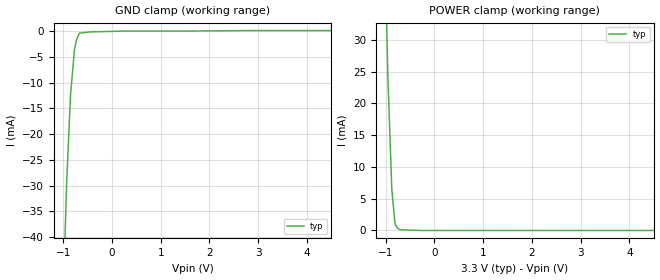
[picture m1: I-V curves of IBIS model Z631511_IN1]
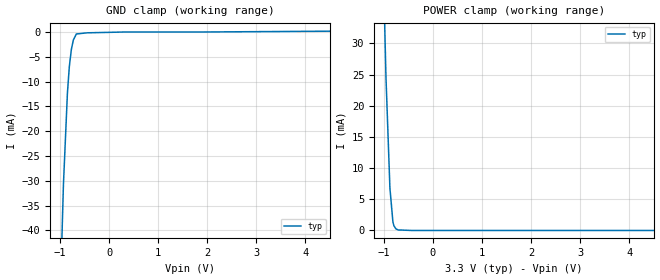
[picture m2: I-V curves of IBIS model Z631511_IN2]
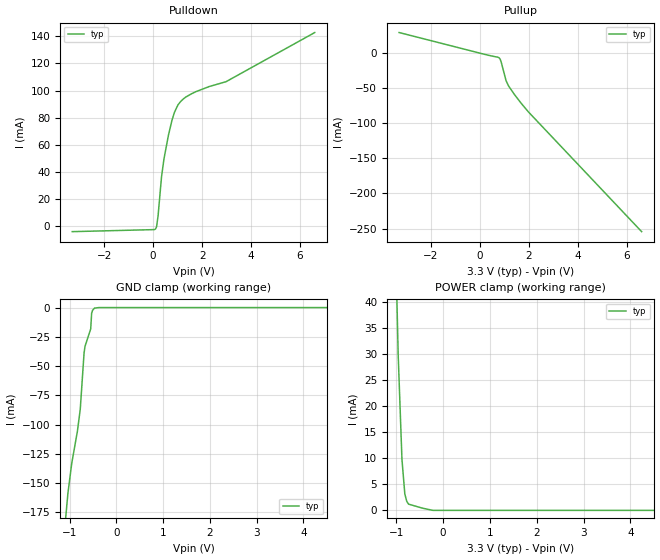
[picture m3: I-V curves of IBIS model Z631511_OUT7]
| YOU ARE ONLY AUTHORIZED TO USE THIS SOFTWARE
| ACCORDING TO LICENSOR'S LICENSE RESTRICTIONS.
[IBIS Ver] 3.1
[File Name] mc100lvelt23d_33.ibs
[File Rev] 5
[Source] Derived from mc100ept23d_33.ibs Measured
|   and created by ICX Technology
[Date] 2/18/2004
[Copyright]
| (c) COPYRIGHT 1993-2000
| MENTOR GRAPHICS CORPORATION
| ICX STANDARD LIBRARY, ICX PROJECT MODELING,
| ICX CUSTOM MODELING, ICX VENDOR MODEL
| ALL RIGHTS RESERVED.
| THE FOLLOWING ARE TRADEMARKS OR SERVICE MARKS OF
| MENTOR GRAPHICS CORPORATION:ICX (r), ICX STANDARD
| LIBRARY(r), ICX PROJECT MODELING(r), ICX CUSTOM
| MODELING(r), qualityIBIS(tm), MODELVIEWER(tm),
| AND MODELEDITOR(tm)
| ALL COPIES OF SOFTWARE, INCLUDING BUT NOT LIMITED TO
| ANY MODIFICATIONS, ENHANCEMENTS OR DERIVATIVE WORKS,
| MUST CONTAIN ALL MENTOR GRAPHICS CORPORATION'S
| NOTICES AND LEGENDS, INCLUDING THOSE EMBEDDED IN
| SOFTWARE AND THOSE AFFIXED TO SOFTWARE MEDIUM
| AND CONTAINER, AS RECEIVED FROM MENTOR GRAPHICS
| CORPORATION.
|  ZAP Model Builder 2.8
[Component] MC100LVELT23D_33
[Manufacturer] ON
[Package]
| variable   typ   min   max
R_pkg  .152ohms NA NA
L_pkg  2.714nH NA NA
C_pkg  .364pF NA NA
[Pin] signal_name  model_name  R_pin  L_pin C_pin
1 D0 Z631511_IN1 .154 2.924n .374p
2 _D0 Z631511_IN2 .15 2.504n .354p
3 _D1 Z631511_IN2 .15 2.504n .354p
4 D1 Z631511_IN1 .154 2.924n .374p
5 GND GND .154 2.924n .374p
6 Q1 Z631511_OUT7 .15 2.504n .354p
7 _Q1 Z631511_OUT7 .15 2.504n .354p
8 VCC POWER .154 2.924n .374p
[Diff Pin] inv_pin vdiff tdelay_typ tdelay_min tdelay_max
1 2 800mv NA NA NA
4 3 800mv NA NA NA
| Models and submodels in the file (3): Z631511_IN1 (Input_ECL), Z631511_IN2 (Input_ECL), Z631511_OUT7 (Output)
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| (c) COPYRIGHT 1993-2000
| MENTOR GRAPHICS CORPORATION
| ICX STANDARD LIBRARY, ICX PROJECT MODELING,
| ICX CUSTOM MODELING, ICX VENDOR MODEL
| ALL RIGHTS RESERVED.
| THE FOLLOWING ARE TRADEMARKS OR SERVICE MARKS OF
| MENTOR GRAPHICS CORPORATION:ICX (r), ICX STANDARD
| LIBRARY(r), ICX PROJECT MODELING(r), ICX CUSTOM
| MODELING(r), qualityIBIS(tm), MODELVIEWER(tm),
| AND MODELEDITOR(tm)
| ALL COPIES OF SOFTWARE, INCLUDING BUT NOT LIMITED TO
| ANY MODIFICATIONS, ENHANCEMENTS OR DERIVATIVE WORKS,
| MUST CONTAIN ALL MENTOR GRAPHICS CORPORATION'S
| NOTICES AND LEGENDS, INCLUDING THOSE EMBEDDED IN
| SOFTWARE AND THOSE AFFIXED TO SOFTWARE MEDIUM
| AND CONTAINER, AS RECEIVED FROM MENTOR GRAPHICS
| CORPORATION.
| Model Application Version 1.89 2/18/99.
[Model] Z631511_IN1
Model_type Input_ECL
Vinl = 1.825V
Vinh = 2.135V
C_comp 2.000pF NA NA
| variable typ   min   max
[Voltage Range] 3.300V NA NA
[GND Clamp Reference] 0.000V NA NA
[POWER Clamp Reference] 3.300V NA NA
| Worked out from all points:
|   GND clamp passes 1 mA (typ) near -0.70 V on its own axis
|   POWER clamp passes 1 mA (typ) near -0.80 V on its own axis
[GND Clamp]
-3.3V     -775.3mA   NA         NA
-932mV    -29.8mA    NA         NA
-851mV    -12.4mA    NA         NA
-770mV    -3.6mA     NA         NA
-729mV    -1.7mA     NA         NA
-669mV    -400uA     NA         NA
-446mV    -161.9uA   NA         NA
243mV     0A         NA         NA
1.561V    0A         NA         NA
2.878V    100uA      NA         NA
6.6V      100uA      NA         NA
[POWER Clamp]
-3.3V     783.7mA    NA         NA
-1.119V   86.3mA     NA         NA
-1.078V   64.1mA     NA         NA
-957mV    24.2mA     NA         NA
-876mV    6.5mA      NA         NA
-815mV    1.4mA      NA         NA
-795mV    800uA      NA         NA
-754mV    300uA      NA         NA
-683mV    100uA      NA         NA
-612mV    100uA      NA         NA
-306mV    0A         NA         NA
6.6V      0A         NA         NA
| (c) COPYRIGHT 1993-2000
| MENTOR GRAPHICS CORPORATION
| ICX STANDARD LIBRARY, ICX PROJECT MODELING,
| ICX CUSTOM MODELING, ICX VENDOR MODEL
| ALL RIGHTS RESERVED.
| THE FOLLOWING ARE TRADEMARKS OR SERVICE MARKS OF
| MENTOR GRAPHICS CORPORATION:ICX (r), ICX STANDARD
| LIBRARY(r), ICX PROJECT MODELING(r), ICX CUSTOM
| MODELING(r), qualityIBIS(tm), MODELVIEWER(tm),
| AND MODELEDITOR(tm)
| ALL COPIES OF SOFTWARE, INCLUDING BUT NOT LIMITED TO
| ANY MODIFICATIONS, ENHANCEMENTS OR DERIVATIVE WORKS,
| MUST CONTAIN ALL MENTOR GRAPHICS CORPORATION'S
| NOTICES AND LEGENDS, INCLUDING THOSE EMBEDDED IN
| SOFTWARE AND THOSE AFFIXED TO SOFTWARE MEDIUM
| AND CONTAINER, AS RECEIVED FROM MENTOR GRAPHICS
| CORPORATION.
| Model Application Version 1.89 2/18/99.
[Model] Z631511_IN2
Model_type Input_ECL
Vinl = 1.825V
Vinh = 2.135V
C_comp 2.000pF NA NA
| variable typ   min   max
[Voltage Range] 3.300V NA NA
[GND Clamp Reference] 0.000V NA NA
[POWER Clamp Reference] 3.300V NA NA
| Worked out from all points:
|   GND clamp passes 1 mA (typ) near -0.70 V on its own axis
|   POWER clamp passes 1 mA (typ) near -0.80 V on its own axis
[GND Clamp]
-3.3V     -855.2mA   NA         NA
-932mV    -30.8mA    NA         NA
-851mV    -12.4mA    NA         NA
-811mV    -6.9mA     NA         NA
-770mV    -3.5mA     NA         NA
-729mV    -1.6mA     NA         NA
-669mV    -400uA     NA         NA
-446mV    -165.2uA   NA         NA
324mV     0A         NA         NA
1.905V    0A         NA         NA
6.6V      297uA      NA         NA
[POWER Clamp]
-3.3V     969.3mA    NA         NA
-1.078V   64.24mA    NA         NA
-957mV    24.65mA    NA         NA
-876mV    6.756mA    NA         NA
-815mV    1.36mA     NA         NA
-795mV    761.5uA    NA         NA
-754mV    264.1uA    NA         NA
-703mV    70.52uA    NA         NA
-652mV    70.52uA    NA         NA
-434.7mV  0A         NA         NA
6.6V      0A         NA         NA
| (c) COPYRIGHT 1993-2000
| MENTOR GRAPHICS CORPORATION
| ICX STANDARD LIBRARY, ICX PROJECT MODELING,
| ICX CUSTOM MODELING, ICX VENDOR MODEL
| ALL RIGHTS RESERVED.
| THE FOLLOWING ARE TRADEMARKS OR SERVICE MARKS OF
| MENTOR GRAPHICS CORPORATION:ICX (r), ICX STANDARD
| LIBRARY(r), ICX PROJECT MODELING(r), ICX CUSTOM
| MODELING(r), qualityIBIS(tm), MODELVIEWER(tm),
| AND MODELEDITOR(tm)
| ALL COPIES OF SOFTWARE, INCLUDING BUT NOT LIMITED TO
| ANY MODIFICATIONS, ENHANCEMENTS OR DERIVATIVE WORKS,
| MUST CONTAIN ALL MENTOR GRAPHICS CORPORATION'S
| NOTICES AND LEGENDS, INCLUDING THOSE EMBEDDED IN
| SOFTWARE AND THOSE AFFIXED TO SOFTWARE MEDIUM
| AND CONTAINER, AS RECEIVED FROM MENTOR GRAPHICS
| CORPORATION.
| Model Application Version 1.89 2/18/99.
[Model] Z631511_OUT7
Model_type Output
Vref=3.300V
Rref=500.0ohms
Cref=20.00pF
Vmeas=1.500V
C_comp 2.000pF NA NA
| variable typ   min   max
[Voltage Range] 3.300V NA NA
[POWER Clamp Reference] 3.300V NA NA
[Pullup Reference] 3.300V NA NA
[Pulldown Reference] 0.000V NA NA
[GND Clamp Reference] 0.000V NA NA
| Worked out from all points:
|   slope of the pulldown table from 0 to 0.495 V, typ, clamps not added: 8.68 ohm
|   slope of the pullup table from 0 to 0.495 V, typ, clamps not added: 121 ohm
|   GND clamp passes 1 mA (typ) near -0.48 V on its own axis
[GND Clamp]
-3.3V     -1.155A    NA         NA
-1.034V   -158.7mA   NA         NA
-953mV    -133.3mA   NA         NA
-831mV    -105.6mA   NA         NA
-770mV    -86.73mA   NA         NA
-689mV    -38.86mA   NA         NA
-669mV    -33.17mA   NA         NA
-547mV    -18.23mA   NA         NA
-527mV    -4.736mA   NA         NA
-507mV    -2.345mA   NA         NA
-466mV    -463.7uA   NA         NA
6.6V      0A         NA         NA
[Pulldown]
-3.3V     -3.907mA   NA         NA
101mV     -1.9mA     NA         NA
142mV     -300uA     NA         NA
203mV     7.7mA      NA         NA
345mV     36.7mA     NA         NA
446mV     49.9mA     NA         NA
628mV     67.3mA     NA         NA
871mV     84mA       NA         NA
1.115V    91.8mA     NA         NA
1.743V    99.2mA     NA         NA
2.98V     106.6mA    NA         NA
6.6V      142.8mA    NA         NA
[Pullup]
-3.3V     29.43mA    NA         NA
782mV     -6.6mA     NA         NA
822mV     -8.4mA     NA         NA
863mV     -12.2mA    NA         NA
1.065V    -39.2mA    NA         NA
1.167V    -46.7mA    NA         NA
1.694V    -71.9mA    NA         NA
1.977V    -83.7mA    NA         NA
6.6V      -254.4mA   NA         NA
[POWER Clamp]
-3.3V     942.4mA    NA         NA
-962mV    30.01mA    NA         NA
-881mV    9.83mA     NA         NA
-820mV    3.173mA    NA         NA
-779mV    1.739mA    NA         NA
-739mV    1.195mA    NA         NA
-435mV    404uA      NA         NA
-217.5mV  0A         NA         NA
6.6V      0A         NA         NA
[Ramp]
| variable typ min max
dV/dt_r 1.497/695.0p NA NA
dV/dt_f 1.497/358.0p NA NA
R_load = 500.0Ohms
